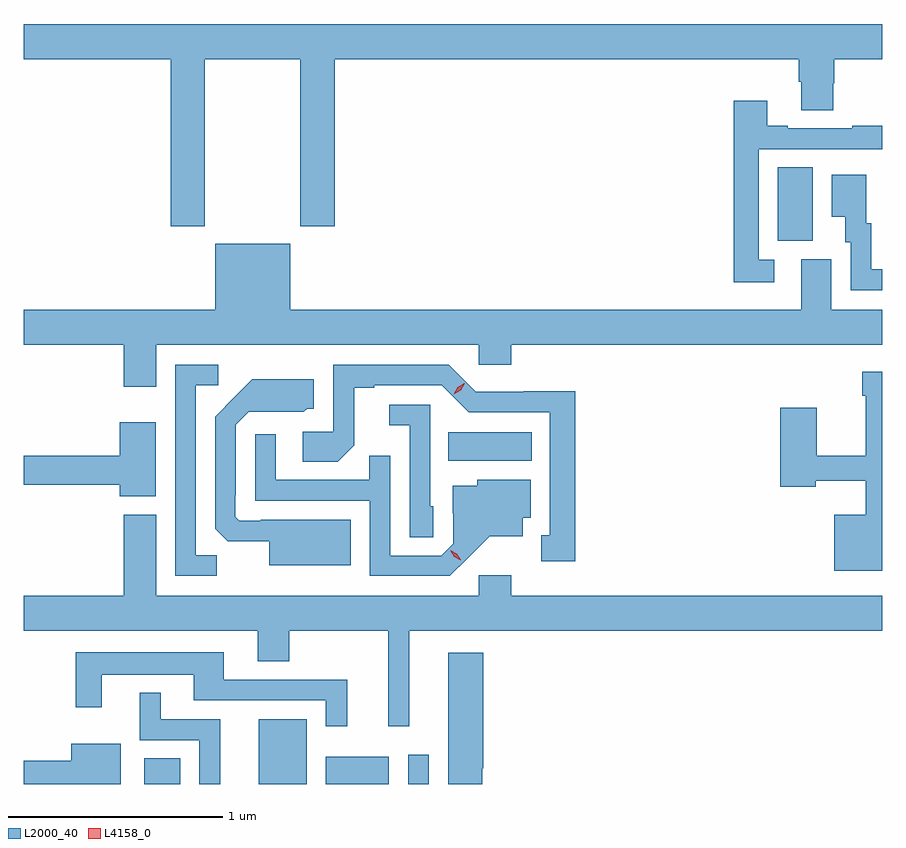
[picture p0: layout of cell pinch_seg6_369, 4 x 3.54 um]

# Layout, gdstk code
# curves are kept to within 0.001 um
import gdstk
lib = gdstk.Library(unit=1e-6, precision=1e-09)
def R(c, l, rs):  # rectangles x0, y0, x1, y1
    for r in rs: c.add(gdstk.rectangle(r[:2], r[2:], *l))
def P(c, l, *ps):  # polygons
    for p in ps: c.add(gdstk.Polygon(p, *l))
L2000_40 = (2000, 40)
L4158_0 = (4158, 0)

pinch_seg6_369 = lib.new_cell('pinch_seg6_369')
R(pinch_seg6_369, L2000_40, [(675.188,950.618,675.355,950.738), (675.722,950.618,675.946,950.92), (676.034,950.618,676.327,950.746), (676.419,950.618,676.515,950.755), (676.606,952.124,676.993,952.258), (678.14,953.149,678.304,953.492)])
P(pinch_seg6_369, L2000_40, [(675.471,953.996),(675.916,953.996),(675.916,953.217),(676.076,953.217),(676.076,953.996),(678.239,953.996),(678.239,953.89),(678.251,953.89),(678.251,953.758),(678.399,953.758),(678.399,953.883),(678.404,953.883),(678.404,953.996),(678.627,953.996),(678.627,954.16),(674.627,954.16),(674.627,953.996),(675.311,953.996),(675.311,953.217),(675.471,953.217)],
  [(678.124,953.061),(678.051,953.061),(678.051,953.577),(678.627,953.577),(678.627,953.686),(678.487,953.686),(678.487,953.673),(678.187,953.673),(678.187,953.686),(678.091,953.686),(678.091,953.803),(677.935,953.803),(677.935,952.956),(678.124,952.956)],
  [(678.627,953.016),(678.577,953.016),(678.577,953.232),(678.553,953.232),(678.553,953.458),(678.392,953.458),(678.392,953.261),(678.455,953.261),(678.455,953.142),(678.48,953.142),(678.48,952.92),(678.627,952.92)],
  [(675.244,952.664),(676.746,952.664),(676.746,952.571),(676.898,952.571),(676.898,952.664),(678.627,952.664),(678.627,952.828),(678.391,952.828),(678.391,953.064),(678.251,953.064),(678.251,952.828),(675.868,952.828),(675.868,953.137),(675.518,953.137),(675.518,952.828),(674.627,952.828),(674.627,952.664),(675.092,952.664),(675.092,952.47),(675.244,952.47)],
  [(677.197,952.448),(676.956,952.448),(676.956,952.446),(676.734,952.446),(676.608,952.572),(676.068,952.572),(676.068,952.26),(675.927,952.26),(675.927,952.12),(676.091,952.12),(676.167,952.196),(676.167,952.464),(676.261,952.464),(676.261,952.476),(676.575,952.476),(676.701,952.35),(677.078,952.35),(677.078,951.777),(677.039,951.777),(677.039,951.657),(677.197,951.657)],
  [(675.525,951.683),(675.429,951.683),(675.429,952.476),(675.532,952.476),(675.532,952.572),(675.333,952.572),(675.333,951.588),(675.525,951.588)],
  [(678.627,952.54),(678.534,952.54),(678.534,952.427),(678.551,952.427),(678.551,952.148),(678.322,952.148),(678.322,952.372),(678.152,952.372),(678.152,952.004),(678.318,952.004),(678.318,952.031),(678.551,952.031),(678.551,951.874),(678.404,951.874),(678.404,951.611),(678.627,951.611)],
  [(676.15,951.85),(675.73,951.85),(675.73,951.846),(675.63,951.846),(675.612,951.864),(675.612,951.964),(675.615,951.964),(675.615,952.293),(675.675,952.353),(675.932,952.352),(675.948,952.368),(675.979,952.368),(675.979,952.504),(675.691,952.504),(675.519,952.33),(675.519,951.808),(675.578,951.749),(675.77,951.749),(675.77,951.638),(676.15,951.638)],
  [(676.536,951.912),(676.521,951.912),(676.521,952.386),(676.329,952.386),(676.329,952.289),(676.425,952.289),(676.425,951.769),(676.536,951.769)],
  [(675.241,952.303),(675.074,952.303),(675.074,952.148),(674.627,952.148),(674.627,952.012),(675.074,952.012),(675.074,951.959),(675.241,951.959)],
  [(676.696,951.671),(676.799,951.773),(676.951,951.773),(676.951,951.86),(676.99,951.86),(676.99,952.036),(676.74,952.036),(676.74,952.009),(676.625,952.009),(676.625,951.88),(676.629,951.88),(676.629,951.738),(676.572,951.681),(676.335,951.681),(676.335,952.148),(676.237,952.148),(676.237,952.035),(675.801,952.035),(675.801,952.249),(675.705,952.249),(675.705,951.939),(676.239,951.939),(676.239,951.588),(676.612,951.588)],
  [(676.424,951.332),(678.627,951.332),(678.627,951.496),(676.898,951.496),(676.898,951.592),(676.746,951.592),(676.746,951.496),(675.244,951.496),(675.244,951.874),(675.092,951.874),(675.092,951.496),(674.627,951.496),(674.627,951.332),(675.716,951.332),(675.716,951.19),(675.864,951.19),(675.864,951.332),(676.325,951.332),(676.325,950.886),(676.424,950.886)],
  [(676.133,951.105),(675.559,951.105),(675.559,951.232),(674.868,951.232),(674.868,950.976),(674.989,950.976),(674.989,951.128),(675.419,951.128),(675.419,951.009),(676.035,951.009),(676.035,950.886),(676.133,950.886)],
  [(676.763,950.691),(676.768,950.691),(676.768,951.229),(676.604,951.229),(676.604,950.618),(676.763,950.618)],
  [(675.542,950.919),(675.265,950.919),(675.265,951.043),(675.167,951.043),(675.167,950.823),(675.444,950.823),(675.444,950.618),(675.542,950.618)],
  [(675.079,950.806),(674.849,950.806),(674.849,950.726),(674.627,950.726),(674.627,950.618),(675.079,950.618)])
P(pinch_seg6_369, L4158_0, [(676.63,952.434),(676.63,952.434),(676.648,952.466),(676.68,952.485),(676.681,952.485),(676.681,952.485),(676.663,952.452),(676.631,952.434)],
  [(676.662,951.661),(676.632,951.677),(676.614,951.707),(676.614,951.707),(676.614,951.707),(676.645,951.692),(676.663,951.662),(676.663,951.661)])

lib.write_gds('pinch_seg6_369.gds')
